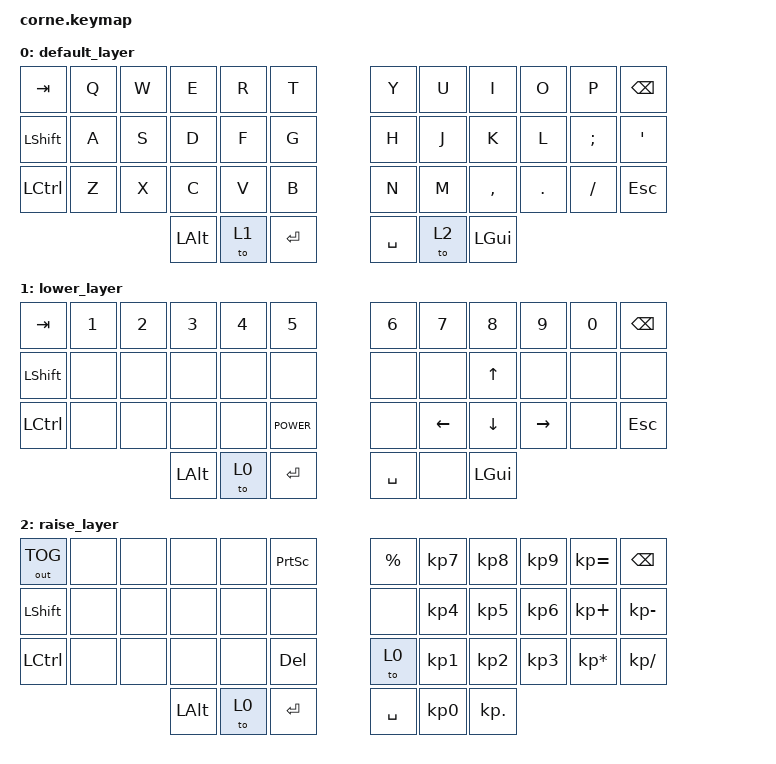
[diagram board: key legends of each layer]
/*
 * Copyright (c) 2020 The ZMK Contributors
 *
 * SPDX-License-Identifier: MIT
 */

#include <behaviors.dtsi>
#include <dt-bindings/zmk/keys.h>
#include <dt-bindings/zmk/bt.h>

#define DEFAULT 0
#define LOWER 1
#define RAISE 2

/ {
        keymap {
                compatible = "zmk,keymap";

                default_layer {
// -----------------------------------------------------------------------------------------
// |  TAB |  Q  |  W  |  E  |  R  |  T  |   |  Y  |  U   |  I  |  O  |  P  | BKSP |
// | SHFT |  A  |  S  |  D  |  F  |  G  |   |  H  |  J   |  K  |  L  |  ;  |  '   |
// | CTRL |  Z  |  X  |  C  |  V  |  B  |   |  N  |  M   |  ,  |  .  |  /  | esc  |
//                    | Alt | to 1 | enter |   | space | layer 2 | GUI |
                        bindings = <
   &kp TAB   &kp Q &kp W &kp E &kp R &kp T   &kp Y &kp U  &kp I     &kp O   &kp P    &kp BSPC
   &kp LSHFT &kp A &kp S &kp D &kp F &kp G   &kp H &kp J  &kp K     &kp L   &kp SEMI &kp SQT
   &kp LCTRL &kp Z &kp X &kp C &kp V &kp B   &kp N &kp M  &kp COMMA &kp DOT &kp FSLH &kp ESC
                &kp LALT &to 1 &kp RET  &kp SPACE &to 2 &kp LGUI
                        >;
                };
                lower_layer {
// -----------------------------------------------------------------------------------------
// |  TAB |  1  |  2  |  3  |  4  |  5  |   |  6  |  7  |  8  |  9  |  0  | BKSP |
// | BTCLR|     |     |     |     |     |   |     |  UP |     |     |     |      |
// | SHFT |     |     |     |     |     |   | LFT | DWN | RGT |     |     |      |
//                      | Alt | to 0 | enter |   | space | layer 2 | GUI |
                        bindings = <
   &kp TAB    &kp NUMBER_1 	&kp NUMBER_2 	&kp NUMBER_3 	&kp NUMBER_4 	&kp NUMBER_5   	&kp NUMBER_6 	&kp NUMBER_7 	&kp NUMBER_8 &kp NUMBER_9 	&kp NUMBER_0  &kp BSPC
   &kp LSHFT  &none       	&none       	&none       	&none       	&none          	&none   		&none   		&kp UP    	&none    		&none  		  &none
   &kp LCTRL  &none       	&none       	&none       	&none       	&kp K_POWER    	&none   		&kp LEFT 		&kp DOWN 	&kp RIGHT		&none  		  &kp ESC
                &kp LALT &to 0 &kp RET   &kp SPACE &none &kp LGUI
                        >;
                };
                raise_layer {
// -----------------------------------------------------------------------------------------
// |  TAB |  !  |  @  |  #  |  $  |  %  |   |  ^  |  &  |  *  |  (  |  )  | BKSP |
// | CTRL |     |     |     |     |     |   |  -  |  =  |  [  |  ]  |  \  |  `   |
// | SHFT |     |     |     |     |     |   |  _  |  +  |  {  |  }  | "|" |  ~   |
//                    | GUI |     | SPC |   | ENT |     | ALT |
                        bindings = <
   &out OUT_TOG &none   &none &none   	 &none   		&kp PSCRN       	&kp PERCENT 	&kp KP_N7  	&kp KP_N8	&kp KP_N9	&kp KP_EQUAL       &kp BACKSPACE
   &kp LSHFT 	&none   &none &none   	 &none   		&none          		&none 		&kp KP_N4 	&kp KP_N5	&kp KP_N6	&kp KP_PLUS     &kp KP_MINUS
   &kp LCTRL 	&none   &none &none      &none   	&kp DEL          	&to 0 		&kp KP_N1 	&kp KP_N2	&kp KP_N3	&kp KP_MULTIPLY &kp KP_DIVIDE
                 &kp LALT 	&to 0 	&kp RET            &kp SPACE 	&kp KP_N0 	&kp KP_DOT
                        >;
                };
        };
};
